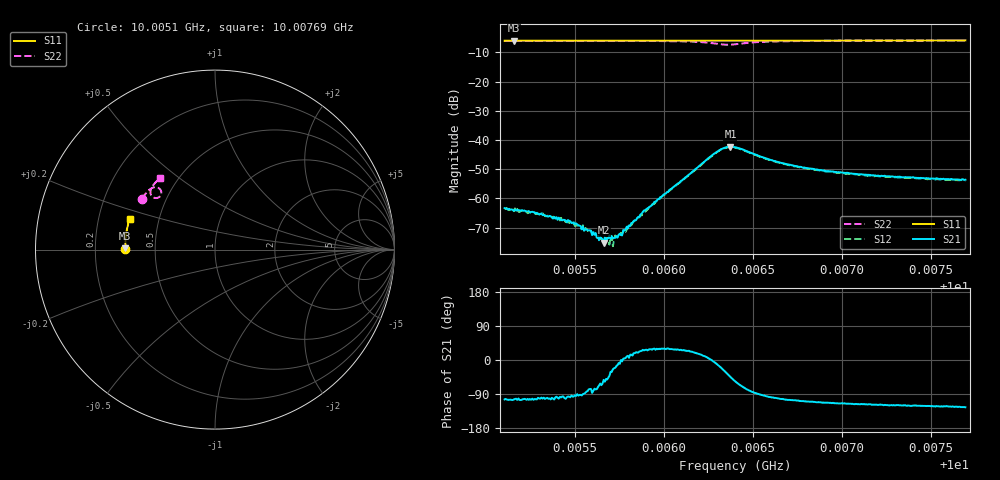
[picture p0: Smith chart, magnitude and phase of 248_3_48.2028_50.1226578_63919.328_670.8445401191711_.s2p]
#  HZ  S  RI  R  50.00
! Rohde & Schwarz Vector Network Analyzer
! Rohde-Schwarz,ZNB20-2Port,1311601062101988,3.16
! Created: UTC 3/20/2024, 11:47:09 AM
! freq[Hz]  re:S11  im:S11  re:S21  im:S21  re:S12  im:S12  re:S22  im:S22
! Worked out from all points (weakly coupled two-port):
!   401 points, 10.0051 GHz to 10.00769 GHz, reference 50 ohm
!   highest |S21| = -42.32 dB at 10.00637 GHz (marker M1); lowest = -75.1 dB at 10.00566 GHz (marker M2)
!   lowest |S11| = -6.0 dB at 10.00516 GHz (marker M3), VSWR 3.00, Z = 16.7 + j0.345 ohm
!   |S11| at or under -10 dB: nowhere
!   |S22| runs from -7.4 to -6.0 dB; largest |S21 - S12| = 0.00046
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1.0005104e10  -0.4999 0.00438  -0.000166 -0.000663  -0.000133 -0.000648  -0.4053 0.284
1.0005156e10  -0.4998 0.00777  -0.00015 -0.000598  -0.000109 -0.000596  -0.4034 0.2871
1.0005272e10  -0.5 0.0153  -0.000129 -0.000564  -0.00011 -0.000549  -0.3988 0.294
1.0005369e10  -0.4999 0.0217  -7.99e-05 -0.000466  -6.18e-05 -0.000475  -0.395 0.2998
1.0005473e10  -0.4999 0.0285  -5.85e-05 -0.000403  -2.47e-05 -0.000377  -0.3905 0.306
1.0005538e10  -0.4997 0.0327  -1.81e-05 -0.000298  -6.33e-06 -0.000295  -0.3874 0.31
1.0005576e10  -0.4996 0.035  6.13e-05 -0.000278  3.96e-05 -0.000263  -0.3855 0.3123
1.0005628e10  -0.4994 0.0385  7.23e-05 -0.000217  8.85e-05 -0.00019  -0.383 0.3155
1.000566e10  -0.4993 0.0406  0.000107 -0.000139  0.000102 -0.000164  -0.3814 0.3174
1.0005699e10  -0.4991 0.043  0.000172 -0.000103  0.0002 -0.000115  -0.3792 0.32
1.0005725e10  -0.4991 0.0447  0.000199 -7.44e-05  0.000221 -7.36e-05  -0.3777 0.3216
1.0005751e10  -0.499 0.0464  0.000245 -4.37e-05  0.000213 -4.77e-05  -0.3763 0.3233
1.000588e10  -0.4983 0.055  0.000525 0.000266  0.000502 0.000263  -0.368 0.3316
1.0005971e10  -0.498 0.0607  0.000845 0.000481  0.000809 0.000514  -0.3605 0.3379
1.0006288e10  -0.495 0.0811  0.006 -0.000807  0.00591 -0.000542  -0.3016 0.3291
1.0006333e10  -0.4945 0.0838  0.0065 -0.00323  0.00653 -0.00284  -0.3005 0.307
1.0006372e10  -0.4944 0.0859  0.00548 -0.00536  0.0056 -0.00497  -0.3134 0.2912
1.0006398e10  -0.4941 0.0875  0.00426 -0.00623  0.00449 -0.00586  -0.3257 0.2869
1.0006624e10  -0.4924 0.102  -0.000748 -0.00428  -0.000553 -0.00421  -0.3594 0.3276
1.0006832e10  -0.49 0.1152  -0.0011 -0.00302  -0.000952 -0.00301  -0.3503 0.35
1.0007265e10  -0.4835 0.1425  -0.0012 -0.00208  -0.00106 -0.00212  -0.3284 0.3777
1.0007692e10  -0.4761 0.1688  -0.00119 -0.00172  -0.00106 -0.00173  -0.3065 0.3985
